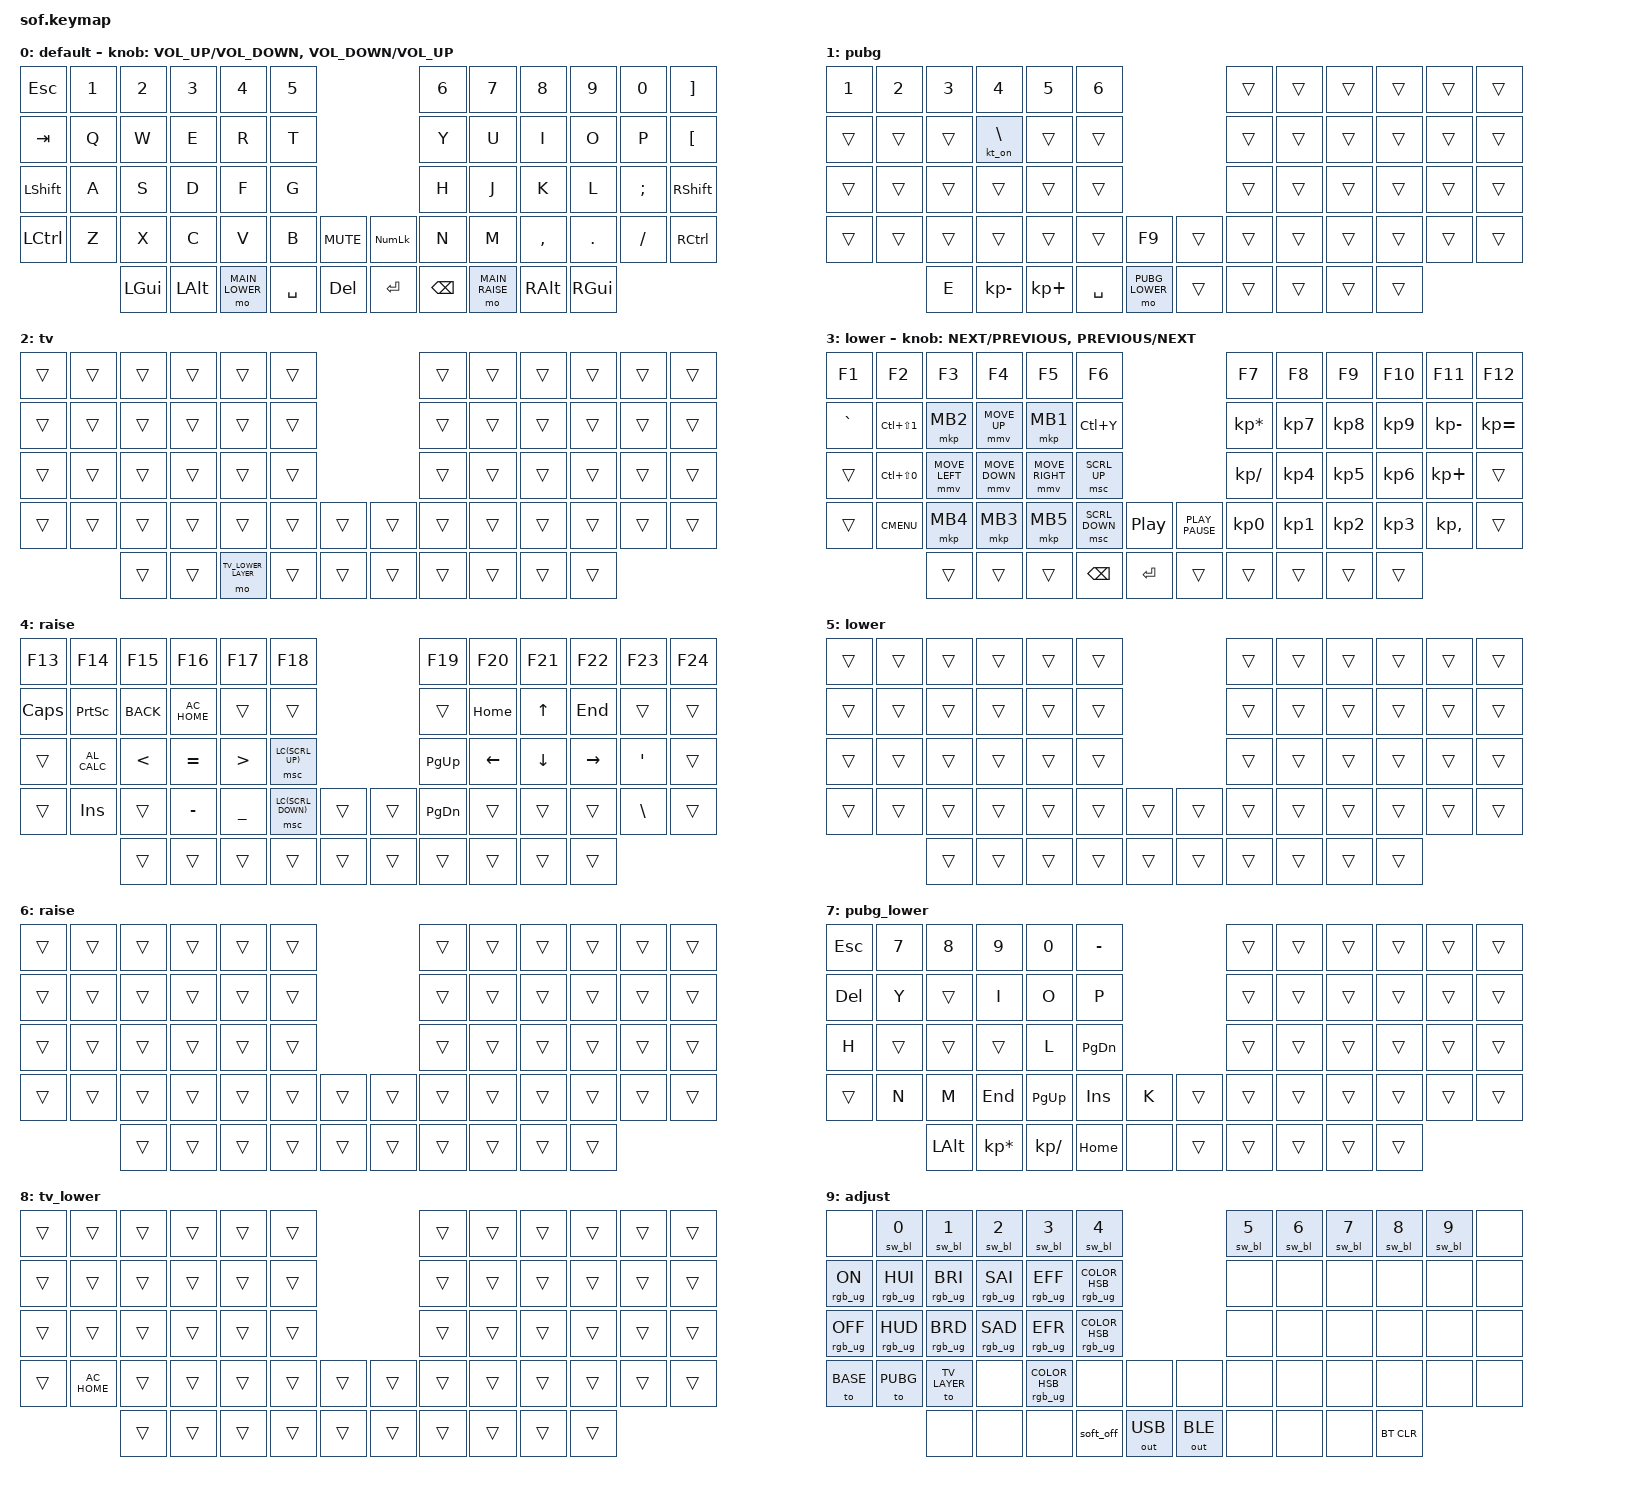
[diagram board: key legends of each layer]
/*
 * Copyright (c) 2020 The ZMK Contributors
 *
 * SPDX-License-Identifier: MIT
 */

#include <behaviors.dtsi>
#include <dt-bindings/zmk/bt.h>
#include <dt-bindings/zmk/ext_power.h>
#include <dt-bindings/zmk/keys.h>
#include <dt-bindings/zmk/rgb.h>
#include <dt-bindings/zmk/outputs.h>
#include <dt-bindings/zmk/backlight.h>

#define ZMK_POINTING_DEFAULT_MOVE_VAL 1500
#define ZMK_POINTING_DEFAULT_SCRL_VAL 40    // default: 10

#include <dt-bindings/zmk/pointing.h>

#define BASE           0
#define PUBG           1
#define TV_LAYER       2
#define LOWER          3
#define RAISE          4
#define MAIN_LOWER     5
#define MAIN_RAISE     6
#define PUBG_LOWER     7
#define TV_LOWER_LAYER 8
#define ADJUST         9

/ {
    conditional_layers {
        compatible = "zmk,conditional-layers";
        adjust_layer {
            if-layers = <LOWER RAISE>;
            then-layer = <ADJUST>;
        };
        adjust_pubg_layer {
            if-layers = <PUBG_LOWER RAISE>;
            then-layer = <ADJUST>;
        };
        lower_tv_layer {
            if-layers = <TV_LOWER_LAYER>;
            then-layer = <LOWER>;
        };
        lower_layer {
            if-layers = <MAIN_LOWER>;
            then-layer = <LOWER>;
        };
        raise_layer {
            if-layers = <MAIN_RAISE>;
            then-layer = <RAISE>;
        };
    };

    behaviors {
        tog_on: toggle_layer_on_only {
            compatible = "zmk,behavior-toggle-layer";
            #binding-cells = <1>;
            display-name = "Toggle Layer On";
            toggle-mode = "on";
        };
        tog_off: toggle_layer_off_only {
            compatible = "zmk,behavior-toggle-layer";
            #binding-cells = <1>;
            display-name = "Toggle Layer Off";
            toggle-mode = "off";
        };
        kt_off: key_toggle_off_only {
            compatible = "zmk,behavior-key-toggle";
            #binding-cells = <1>;
            display-name = "Key Toggle Off";
            toggle-mode = "off";
        };
        kt_on: key_toggle_on_only {
            compatible = "zmk,behavior-key-toggle";
            #binding-cells = <1>;
            display-name = "Key Toggle On";
            toggle-mode = "on";
        };
    };

    macros {
        sw_bl: sw_bl {
            compatible = "zmk,behavior-macro-one-param";
            #binding-cells = <1>;
            bindings
                = <&out OUT_BLE>
                , <&macro_param_1to2>
                , <&bt BT_SEL MACRO_PLACEHOLDER>
                ;
        };
        lang_en: lang_en {
            compatible = "zmk,behavior-macro";
            #binding-cells = <0>;
            bindings
                = <&macro_tap &kp CAPS &kp CAPS &kp LA(LS(N0))>
                ;
        };
        lang_ru: lang_ru {
            compatible = "zmk,behavior-macro";
            #binding-cells = <0>;
            bindings
                = <&macro_tap &kp LS(CAPS) &kp LS(CAPS) &kp LC(LS(N0))>
                ;
        };
    };

    keymap {
        compatible = "zmk,keymap";

        default_layer {
            display-name = "default";
            bindings = <
&kp ESC   &kp N1 &kp N2   &kp N3   &kp N4         &kp N5                            &kp N6    &kp N7         &kp N8    &kp N9    &kp N0   &kp RBKT
&kp TAB   &kp Q  &kp W    &kp E    &kp R          &kp T                             &kp Y     &kp U          &kp I     &kp O     &kp P    &kp LBKT
&kp LSHFT &kp A  &kp S    &kp D    &kp F          &kp G                             &kp H     &kp J          &kp K     &kp L     &kp SEMI &kp RSHFT
&kp LCTRL &kp Z  &kp X    &kp C    &kp V          &kp B      &kp C_MUTE  &kp KP_NUM &kp N     &kp M          &kp COMMA &kp DOT   &kp FSLH &kp RCTRL
                 &kp LGUI &kp LALT &mo MAIN_LOWER &kp SPACE  &kp DEL     &kp RET    &kp BSPC  &mo MAIN_RAISE &kp RALT  &kp RGUI
            >;

            sensor-bindings = <&inc_dec_kp C_VOLUME_UP C_VOLUME_DOWN &inc_dec_kp K_VOLUME_DOWN K_VOLUME_UP>;
        };

        pubg_layer {
            display-name = "pubg";
            bindings = <
&kp N1 &kp N2 &kp N3 &kp N4       &kp N5      &kp N6                           &trans &trans &trans &trans &trans &trans
&trans &trans &trans &kt_on BSLH  &trans      &trans                           &trans &trans &trans &trans &trans &trans
&trans &trans &trans &trans       &trans      &trans                           &trans &trans &trans &trans &trans &trans
&trans &trans &trans &trans       &trans      &trans    &kp F9          &trans &trans &trans &trans &trans &trans &trans
              &kp E  &kp KP_MINUS &kp KP_PLUS &kp SPACE &mo PUBG_LOWER  &trans &trans &trans &trans &trans
            >;
        };

        tv_layer {
            display-name = "tv";
            bindings = <
&trans &trans &trans &trans &trans             &trans                          &trans &trans &trans &trans &trans &trans
&trans &trans &trans &trans &trans             &trans                          &trans &trans &trans &trans &trans &trans
&trans &trans &trans &trans &trans             &trans                          &trans &trans &trans &trans &trans &trans
&trans &trans &trans &trans &trans             &trans &trans            &trans &trans &trans &trans &trans &trans &trans
              &trans &trans &mo TV_LOWER_LAYER &trans &trans            &trans &trans &trans &trans &trans
            >;
        };

        lower_layer {
            display-name = "lower";
            bindings = <
&kp F1    &kp F2         &kp F3         &kp F4         &kp F5          &kp F6                                            &kp F7          &kp F8     &kp F9    &kp F10      &kp F11      &kp F12
&kp GRAVE &kp LC(LS(N1)) &mkp MB2       &mmv MOVE_UP   &mkp MB1        &kp LC(Y)                                         &kp KP_MULTIPLY &kp KP_N7  &kp KP_N8 &kp KP_N9    &kp KP_MINUS &kp KP_EQUAL
&trans    &kp LC(LS(N0)) &mmv MOVE_LEFT &mmv MOVE_DOWN &mmv MOVE_RIGHT &msc SCRL_UP                                      &kp KP_DIVIDE   &kp KP_N4  &kp KP_N5 &kp KP_N6    &kp KP_PLUS  &trans
&trans    &kp K_CMENU    &mkp MB4       &mkp MB3       &mkp MB5        &msc SCRL_DOWN  &kp C_PLAY_PAUSE &kp K_PLAY_PAUSE &kp KP_N0       &kp KP_N1  &kp KP_N2 &kp KP_N3    &kp KP_COMMA &trans
                         &trans         &trans         &trans          &kp BSPC        &kp RET          &trans           &trans          &trans     &trans    &trans
            >;

            sensor-bindings = <&inc_dec_kp C_NEXT C_PREVIOUS &inc_dec_kp K_PREVIOUS K_NEXT>;
        };

        raise_layer {
            display-name = "raise";
            bindings = <
&kp F13  &kp F14       &kp F15    &kp F16       &kp F17        &kp F18                                                   &kp F19   &kp F20   &kp F21  &kp F22   &kp F23   &kp F24
&kp CAPS &kp PSCRN     &kp K_BACK &kp C_AC_HOME &trans         &trans                                                    &trans    &kp HOME  &kp UP   &kp END   &trans    &trans
&trans   &kp C_AL_CALC &kp LT     &kp EQUAL     &kp GT         &msc LC(SCRL_UP)                                          &kp PG_UP &kp LEFT  &kp DOWN &kp RIGHT &kp SQT   &trans
&trans   &kp INS       &trans     &kp MINUS     &kp UNDERSCORE &msc LC(SCRL_DOWN) &trans                       &trans    &kp PG_DN &trans    &trans   &trans    &kp BSLH  &trans
                       &trans     &trans        &trans         &trans             &trans                       &trans    &trans    &trans    &trans   &trans
            >;
        };

        main_lower_layer {
            display-name = "lower";
            bindings = <
&trans &trans &trans &trans &trans &trans                          &trans &trans &trans &trans &trans &trans
&trans &trans &trans &trans &trans &trans                          &trans &trans &trans &trans &trans &trans
&trans &trans &trans &trans &trans &trans                          &trans &trans &trans &trans &trans &trans
&trans &trans &trans &trans &trans &trans &trans            &trans &trans &trans &trans &trans &trans &trans
              &trans &trans &trans &trans &trans            &trans &trans &trans &trans &trans
            >;
        };

        main_raise_layer {
            display-name = "raise";
            bindings = <
&trans &trans &trans &trans &trans &trans                          &trans &trans &trans &trans &trans &trans
&trans &trans &trans &trans &trans &trans                          &trans &trans &trans &trans &trans &trans
&trans &trans &trans &trans &trans &trans                          &trans &trans &trans &trans &trans &trans
&trans &trans &trans &trans &trans &trans &trans            &trans &trans &trans &trans &trans &trans &trans
              &trans &trans &trans &trans &trans            &trans &trans &trans &trans &trans
            >;
        };

        pubg_lower_layer {
            display-name = "pubg_lower";
            bindings = <
&kp ESC &kp N7  &kp N8   &kp N9          &kp N0         &kp MINUS                    &trans &trans &trans &trans &trans &trans
&kp DEL &kp Y   &trans   &kp I           &kp O          &kp P                        &trans &trans &trans &trans &trans &trans
&kp H   &trans  &trans   &trans          &kp L          &kp PG_DN                    &trans &trans &trans &trans &trans &trans
&trans  &kp N   &kp M    &kp END         &kp PG_UP      &kp INS    &kp K  &trans     &trans &trans &trans &trans &trans &trans
                &kp LALT &kp KP_MULTIPLY &kp KP_DIVIDE  &kp HOME   &none  &trans     &trans &trans &trans &trans
            >;
        };

        tv_lower_layer {
            display-name = "tv_lower";
            bindings = <
&trans &trans        &trans &trans &trans &trans                          &trans &trans &trans &trans &trans &trans
&trans &trans        &trans &trans &trans &trans                          &trans &trans &trans &trans &trans &trans
&trans &trans        &trans &trans &trans &trans                          &trans &trans &trans &trans &trans &trans
&trans &kp C_AC_HOME &trans &trans &trans &trans &trans            &trans &trans &trans &trans &trans &trans &trans
                     &trans &trans &trans &trans &trans            &trans &trans &trans &trans &trans
            >;
        };

        adjust_layer {
            display-name = "adjust";
            bindings = <
&none           &sw_bl 0        &sw_bl 1        &sw_bl 2        &sw_bl 3                          &sw_bl 4                                                    &sw_bl 5 &sw_bl 6 &sw_bl 7 &sw_bl 8    &sw_bl 9 &none
&rgb_ug RGB_ON  &rgb_ug RGB_HUI &rgb_ug RGB_BRI &rgb_ug RGB_SAI &rgb_ug RGB_EFF                   &rgb_ug RGB_COLOR_HSB(0,100,40)                             &none    &none    &none    &none       &none    &none
&rgb_ug RGB_OFF &rgb_ug RGB_HUD &rgb_ug RGB_BRD &rgb_ug RGB_SAD &rgb_ug RGB_EFR                   &rgb_ug RGB_COLOR_HSB(120,100,40)                           &none    &none    &none    &none       &none    &none
&to BASE        &to PUBG        &to TV_LAYER    &none           &rgb_ug RGB_COLOR_HSB(240,100,40) &none                             &none        &none        &none    &none    &none    &none       &none    &none
                                &none           &none           &none                             &soft_off                         &out OUT_USB &out OUT_BLE &none    &none    &none    &bt BT_CLR
            >;
        };
    };
};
